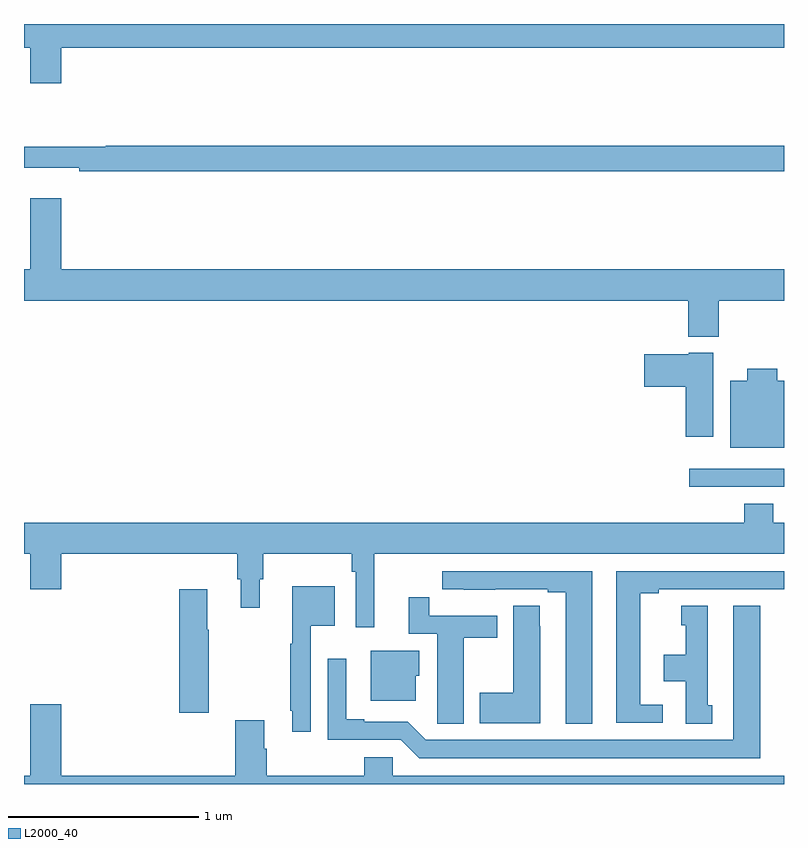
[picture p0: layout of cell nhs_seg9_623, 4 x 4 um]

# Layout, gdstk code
import gdstk
lib = gdstk.Library(unit=1e-6, precision=1e-09)
def R(c, l, rs):  # rectangles x0, y0, x1, y1
    for r in rs: c.add(gdstk.rectangle(r[:2], r[2:], *l))
def P(c, l, *ps):  # polygons
    for p in ps: c.add(gdstk.Polygon(p, *l))
L2000_40 = (2000, 40)

nhs_seg9_623 = lib.new_cell('nhs_seg9_623')
R(nhs_seg9_623, L2000_40, [(144.501,1238.064,145,1238.16)])
P(nhs_seg9_623, L2000_40, [(145,1240.5),(141,1240.5),(141,1240.376),(141.032,1240.376),(141.032,1240.188),(141.196,1240.188),(141.196,1240.376),(145,1240.376)],
  [(145,1239.86),(141.43,1239.86),(141.43,1239.853),(141,1239.853),(141,1239.743),(141.292,1239.743),(141.292,1239.724),(145,1239.724)],
  [(144.657,1239.044),(145,1239.044),(145,1239.208),(141.196,1239.208),(141.196,1239.583),(141.032,1239.583),(141.032,1239.208),(141,1239.208),(141,1239.044),(144.497,1239.044),(144.497,1238.855),(144.657,1238.855)],
  [(144.628,1238.77),(144.498,1238.77),(144.498,1238.761),(144.264,1238.761),(144.264,1238.591),(144.482,1238.591),(144.482,1238.328),(144.628,1238.328)],
  [(145,1238.623),(144.964,1238.623),(144.964,1238.686),(144.806,1238.686),(144.806,1238.623),(144.716,1238.623),(144.716,1238.27),(145,1238.27)],
  [(142.844,1237.712),(145,1237.712),(145,1237.876),(144.943,1237.876),(144.943,1237.975),(144.791,1237.975),(144.791,1237.876),(141,1237.876),(141,1237.712),(141.032,1237.712),(141.032,1237.524),(141.196,1237.524),(141.196,1237.712),(142.123,1237.712),(142.123,1237.578),(142.142,1237.578),(142.142,1237.428),(142.24,1237.428),(142.24,1237.578),(142.259,1237.578),(142.259,1237.712),(142.726,1237.712),(142.726,1237.616),(142.746,1237.616),(142.746,1237.326),(142.844,1237.326)],
  [(144.361,1236.918),(144.244,1236.918),(144.244,1237.504),(144.34,1237.504),(144.34,1237.524),(145,1237.524),(145,1237.62),(144.116,1237.62),(144.116,1236.822),(144.361,1236.822)],
  [(143.992,1237.62),(143.202,1237.62),(143.202,1237.524),(143.314,1237.524),(143.314,1237.523),(143.48,1237.523),(143.48,1237.524),(143.756,1237.524),(143.756,1237.509),(143.852,1237.509),(143.852,1236.817),(143.992,1236.817)],
  [(142.509,1237.334),(142.636,1237.334),(142.636,1237.54),(142.412,1237.54),(142.412,1237.238),(142.401,1237.238),(142.401,1236.886),(142.412,1236.886),(142.412,1236.774),(142.509,1236.774)],
  [(141.972,1237.312),(141.964,1237.312),(141.964,1237.525),(141.818,1237.525),(141.818,1236.876),(141.972,1236.876)],
  [(143.314,1237.27),(143.491,1237.27),(143.491,1237.386),(143.132,1237.386),(143.132,1237.483),(143.024,1237.483),(143.024,1237.29),(143.174,1237.29),(143.174,1236.928),(143.175,1236.928),(143.175,1236.817),(143.314,1236.817)],
  [(143.716,1237.331),(143.715,1237.331),(143.715,1237.439),(143.576,1237.439),(143.576,1236.981),(143.399,1236.981),(143.399,1236.821),(143.716,1236.821)],
  [(144.874,1237.438),(144.734,1237.438),(144.734,1236.732),(143.115,1236.732),(143.019,1236.828),(142.792,1236.828),(142.792,1236.841),(142.696,1236.841),(142.696,1237.159),(142.599,1237.159),(142.599,1236.732),(142.983,1236.732),(143.079,1236.636),(144.874,1236.636)],
  [(144.622,1236.915),(144.598,1236.915),(144.598,1237.438),(144.458,1237.438),(144.458,1237.335),(144.482,1237.335),(144.482,1237.18),(144.368,1237.18),(144.368,1237.04),(144.482,1237.04),(144.482,1236.817),(144.622,1236.817)],
  [(143.062,1237.071),(143.08,1237.071),(143.08,1237.201),(142.826,1237.201),(142.826,1236.938),(143.062,1236.938)],
  [(145,1236.544),(142.941,1236.544),(142.941,1236.642),(142.79,1236.642),(142.79,1236.544),(142.277,1236.544),(142.277,1236.686),(142.264,1236.686),(142.264,1236.835),(142.112,1236.835),(142.112,1236.544),(141.196,1236.544),(141.196,1236.919),(141.032,1236.919),(141.032,1236.544),(141,1236.544),(141,1236.5),(145,1236.5)])

lib.write_gds('nhs_seg9_623.gds')
